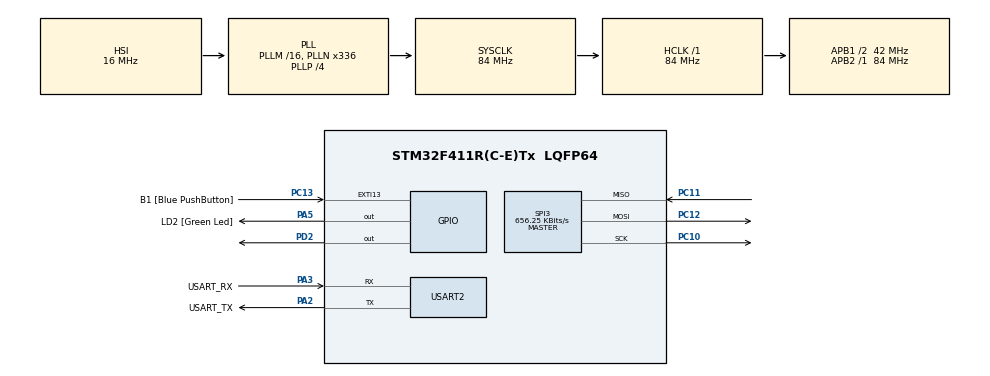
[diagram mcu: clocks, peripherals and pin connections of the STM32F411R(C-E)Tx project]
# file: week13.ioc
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Mcu.Family=STM32F4
Mcu.Name=STM32F411R(C-E)Tx
Mcu.Package=LQFP64
NVIC.PriorityGroup=NVIC_PRIORITYGROUP_0
NVIC.SPI3_IRQn=true\:0\:0\:false\:false\:true\:true\:true\:true
PA13.GPIO_Label=TMS
PA13.Mode=Serial_Wire
PA13.Signal=SYS_JTMS-SWDIO
PA14.GPIO_Label=TCK
PA14.Mode=Serial_Wire
PA14.Signal=SYS_JTCK-SWCLK
PA2.GPIO_Label=USART_TX
PA2.Mode=Asynchronous
PA2.Signal=USART2_TX
PA3.GPIO_Label=USART_RX
PA3.Mode=Asynchronous
PA3.Signal=USART2_RX
PA5.GPIO_Label=LD2 [Green Led]
PA5.Signal=GPIO_Output
PB3.GPIO_Label=SWO
PB3.Signal=SYS_JTDO-SWO
PC10.Mode=Full_Duplex_Master
PC10.Signal=SPI3_SCK
PC11.Mode=Full_Duplex_Master
PC11.Signal=SPI3_MISO
PC12.Mode=Full_Duplex_Master
PC12.Signal=SPI3_MOSI
PC13-ANTI_TAMP.GPIO_Label=B1 [Blue PushButton]
PC13-ANTI_TAMP.GPIO_ModeDefaultEXTI=GPIO_MODE_IT_FALLING
PC13-ANTI_TAMP.Signal=GPXTI13
PC14-OSC32_IN.Mode=LSE-External-Oscillator
PC14-OSC32_IN.Signal=RCC_OSC32_IN
PC15-OSC32_OUT.Mode=LSE-External-Oscillator
PC15-OSC32_OUT.Signal=RCC_OSC32_OUT
PD2.PinState=GPIO_PIN_SET
PD2.Signal=GPIO_Output
PH0\ -\ OSC_IN.Mode=HSE-External-Clock-Source
PH0\ -\ OSC_IN.Signal=RCC_OSC_IN
PH1\ -\ OSC_OUT.Mode=HSE-External-Clock-Source
PH1\ -\ OSC_OUT.Signal=RCC_OSC_OUT
ProjectManager.HeapSize=0x200
ProjectManager.StackSize=0x400
ProjectManager.TargetToolchain=STM32CubeIDE
RCC.48MHZClocksFreq_Value=84000000
RCC.AHBFreq_Value=84000000
RCC.APB1CLKDivider=RCC_HCLK_DIV2
RCC.APB1Freq_Value=42000000
RCC.APB1TimFreq_Value=84000000
RCC.APB2Freq_Value=84000000
RCC.APB2TimFreq_Value=84000000
RCC.CortexFreq_Value=84000000
RCC.FLatency-AdvancedSettings=FLASH_LATENCY_2
RCC.HCLKFreq_Value=84000000
RCC.HSE_VALUE=8000000
RCC.HSI_VALUE=16000000
RCC.PLLN=336
RCC.PLLP=RCC_PLLP_DIV4
RCC.SYSCLKFreq_VALUE=84000000
RCC.SYSCLKSource=RCC_SYSCLKSOURCE_PLLCLK
RCC.VCOOutputFreq_Value=336000000
SPI3.BaudRatePrescaler=SPI_BAUDRATEPRESCALER_64
SPI3.CLKPhase=SPI_PHASE_2EDGE
SPI3.CLKPolarity=SPI_POLARITY_HIGH
SPI3.CalculateBaudRate=656.25 KBits/s
SPI3.Direction=SPI_DIRECTION_2LINES
SPI3.Mode=SPI_MODE_MASTER
SPI3.VirtualType=VM_MASTER
USART2.VirtualMode=VM_ASYNC
board=NUCLEO-F411RE

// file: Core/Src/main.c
/* USER CODE BEGIN Header */
/**
  ******************************************************************************
  * @file           : main.c
  * @brief          : Main program body
  ******************************************************************************
  * @attention
  *
  * Copyright (c) 2023 STMicroelectronics.
  * All rights reserved.
  *
  * This software is licensed under terms that can be found in the LICENSE file
  * in the root directory of this software component.
  * If no LICENSE file comes with this software, it is provided AS-IS.
  *
  ******************************************************************************
  */
/* USER CODE END Header */
#include "main.h"

SPI_HandleTypeDef hspi3;

UART_HandleTypeDef huart2;

/* USER CODE BEGIN PV */
uint8_t SPIRx[10];
uint8_t SPITx[10];
/* USER CODE END PV */

void SystemClock_Config(void);
static void MX_GPIO_Init(void);
static void MX_USART2_UART_Init(void);
static void MX_SPI3_Init(void);
/* USER CODE BEGIN PFP */
void SPITxRx();
/* USER CODE END PFP */

int main(void)
{

  /* MCU Configuration--------------------------------------------------------*/

  /* Reset of all peripherals, Initializes the Flash interface and the Systick. */
  HAL_Init();

  /* Configure the system clock */
  SystemClock_Config();

  /* Initialize all configured peripherals */
  MX_GPIO_Init();
  MX_USART2_UART_Init();
  MX_SPI3_Init();
  /* USER CODE BEGIN 2 */
  SPITxRx();
  /* USER CODE END 2 */

  /* Infinite loop */
  while (1)
  {

  }
}

void SystemClock_Config(void)
{
  RCC_OscInitTypeDef RCC_OscInitStruct = {0};
  RCC_ClkInitTypeDef RCC_ClkInitStruct = {0};

  /** Configure the main internal regulator output voltage
  */
  __HAL_RCC_PWR_CLK_ENABLE();
  __HAL_PWR_VOLTAGESCALING_CONFIG(PWR_REGULATOR_VOLTAGE_SCALE1);

  /** Initializes the RCC Oscillators according to the specified parameters
  * in the RCC_OscInitTypeDef structure.
  */
  RCC_OscInitStruct.OscillatorType = RCC_OSCILLATORTYPE_HSI;
  RCC_OscInitStruct.HSIState = RCC_HSI_ON;
  RCC_OscInitStruct.HSICalibrationValue = RCC_HSICALIBRATION_DEFAULT;
  RCC_OscInitStruct.PLL.PLLState = RCC_PLL_ON;
  RCC_OscInitStruct.PLL.PLLSource = RCC_PLLSOURCE_HSI;
  RCC_OscInitStruct.PLL.PLLM = 16;
  RCC_OscInitStruct.PLL.PLLN = 336;
  RCC_OscInitStruct.PLL.PLLP = RCC_PLLP_DIV4;
  RCC_OscInitStruct.PLL.PLLQ = 4;
  if (HAL_RCC_OscConfig(&RCC_OscInitStruct) != HAL_OK)
  {
    Error_Handler();
  }

  /** Initializes the CPU, AHB and APB buses clocks
  */
  RCC_ClkInitStruct.ClockType = RCC_CLOCKTYPE_HCLK|RCC_CLOCKTYPE_SYSCLK
                              |RCC_CLOCKTYPE_PCLK1|RCC_CLOCKTYPE_PCLK2;
  RCC_ClkInitStruct.SYSCLKSource = RCC_SYSCLKSOURCE_PLLCLK;
  RCC_ClkInitStruct.AHBCLKDivider = RCC_SYSCLK_DIV1;
  RCC_ClkInitStruct.APB1CLKDivider = RCC_HCLK_DIV2;
  RCC_ClkInitStruct.APB2CLKDivider = RCC_HCLK_DIV1;

  if (HAL_RCC_ClockConfig(&RCC_ClkInitStruct, FLASH_LATENCY_2) != HAL_OK)
  {
    Error_Handler();
  }
}

static void MX_SPI3_Init(void)
{

  /* SPI3 parameter configuration*/
  hspi3.Instance = SPI3;
  hspi3.Init.Mode = SPI_MODE_MASTER;
  hspi3.Init.Direction = SPI_DIRECTION_2LINES;
  hspi3.Init.DataSize = SPI_DATASIZE_8BIT;
  hspi3.Init.CLKPolarity = SPI_POLARITY_HIGH;
  hspi3.Init.CLKPhase = SPI_PHASE_2EDGE;
  hspi3.Init.NSS = SPI_NSS_SOFT;
  hspi3.Init.BaudRatePrescaler = SPI_BAUDRATEPRESCALER_64;
  hspi3.Init.FirstBit = SPI_FIRSTBIT_MSB;
  hspi3.Init.TIMode = SPI_TIMODE_DISABLE;
  hspi3.Init.CRCCalculation = SPI_CRCCALCULATION_DISABLE;
  hspi3.Init.CRCPolynomial = 10;
  if (HAL_SPI_Init(&hspi3) != HAL_OK)
  {
    Error_Handler();
  }

}

static void MX_USART2_UART_Init(void)
{

  huart2.Instance = USART2;
  huart2.Init.BaudRate = 115200;
  huart2.Init.WordLength = UART_WORDLENGTH_8B;
  huart2.Init.StopBits = UART_STOPBITS_1;
  huart2.Init.Parity = UART_PARITY_NONE;
  huart2.Init.Mode = UART_MODE_TX_RX;
  huart2.Init.HwFlowCtl = UART_HWCONTROL_NONE;
  huart2.Init.OverSampling = UART_OVERSAMPLING_16;
  if (HAL_UART_Init(&huart2) != HAL_OK)
  {
    Error_Handler();
  }

}

static void MX_GPIO_Init(void)
{
  GPIO_InitTypeDef GPIO_InitStruct = {0};

  /* GPIO Ports Clock Enable */
  __HAL_RCC_GPIOC_CLK_ENABLE();
  __HAL_RCC_GPIOH_CLK_ENABLE();
  __HAL_RCC_GPIOA_CLK_ENABLE();
  __HAL_RCC_GPIOD_CLK_ENABLE();
  __HAL_RCC_GPIOB_CLK_ENABLE();

  /*Configure GPIO pin Output Level */
  HAL_GPIO_WritePin(LD2_GPIO_Port, LD2_Pin, GPIO_PIN_RESET);

  /*Configure GPIO pin Output Level */
  HAL_GPIO_WritePin(GPIOD, GPIO_PIN_2, GPIO_PIN_SET);

  /*Configure GPIO pin : B1_Pin */
  GPIO_InitStruct.Pin = B1_Pin;
  GPIO_InitStruct.Mode = GPIO_MODE_IT_FALLING;
  GPIO_InitStruct.Pull = GPIO_NOPULL;
  HAL_GPIO_Init(B1_GPIO_Port, &GPIO_InitStruct);

  /*Configure GPIO pin : LD2_Pin */
  GPIO_InitStruct.Pin = LD2_Pin;
  GPIO_InitStruct.Mode = GPIO_MODE_OUTPUT_PP;
  GPIO_InitStruct.Pull = GPIO_NOPULL;
  GPIO_InitStruct.Speed = GPIO_SPEED_FREQ_LOW;
  HAL_GPIO_Init(LD2_GPIO_Port, &GPIO_InitStruct);

  /*Configure GPIO pin : PD2 */
  GPIO_InitStruct.Pin = GPIO_PIN_2;
  GPIO_InitStruct.Mode = GPIO_MODE_OUTPUT_PP;
  GPIO_InitStruct.Pull = GPIO_NOPULL;
  GPIO_InitStruct.Speed = GPIO_SPEED_FREQ_LOW;
  HAL_GPIO_Init(GPIOD, &GPIO_InitStruct);

}

/* USER CODE BEGIN 4 */
void SPITxRx()
{
	HAL_GPIO_WritePin(GPIOD, GPIO_PIN_2, 0);
	HAL_Delay(1);
	HAL_GPIO_WritePin(GPIOD, GPIO_PIN_2, 1);
	HAL_Delay(1);
	HAL_GPIO_WritePin(GPIOD, GPIO_PIN_2, 0);
	SPITx[0] = 0b01000001;
	SPITx[1] = 0x12;
	SPITx[2] = 0;
	SPITx[3] = 0;
	HAL_SPI_TransmitReceive_IT(&hspi3, SPITx, SPIRx, 4);
}

void HAL_SPI_TxRxCpltCallback(SPI_HandleTypeDef *hspi)
{
	HAL_GPIO_WritePin(GPIOD, GPIO_PIN_2, 1);
}
/* USER CODE END 4 */

void Error_Handler(void)
{
  __disable_irq();
  while (1)
  {
  }
}
